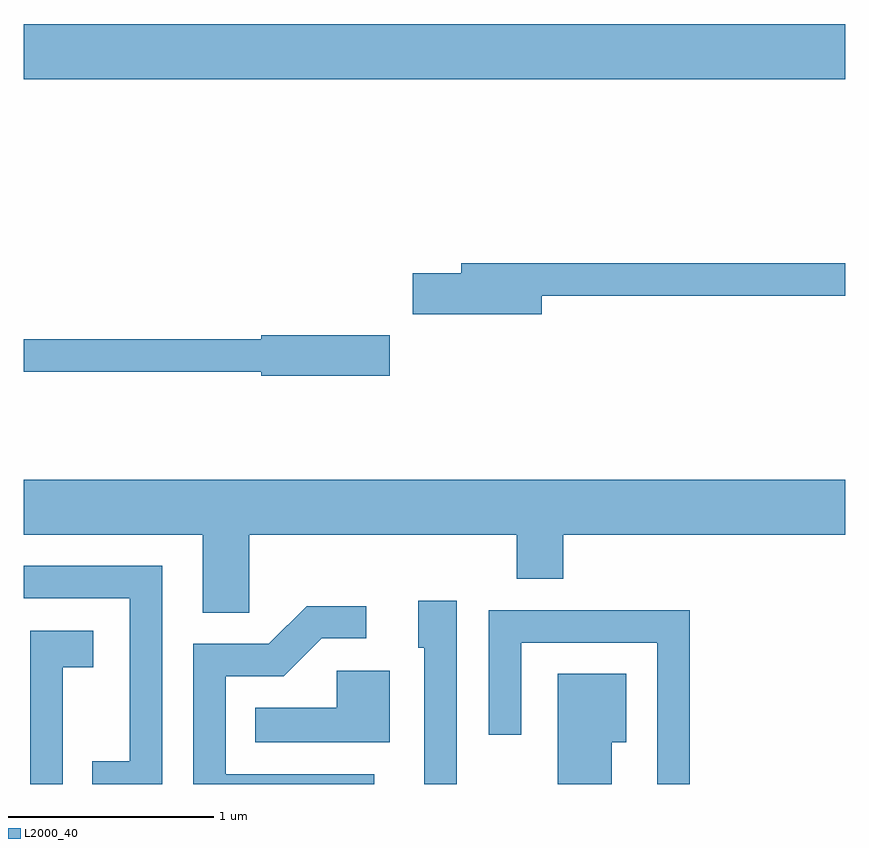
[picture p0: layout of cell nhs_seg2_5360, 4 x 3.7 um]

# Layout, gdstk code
import gdstk
lib = gdstk.Library(unit=1e-6, precision=1e-09)
def R(c, l, rs):  # rectangles x0, y0, x1, y1
    for r in rs: c.add(gdstk.rectangle(r[:2], r[2:], *l))
def P(c, l, *ps):  # polygons
    for p in ps: c.add(gdstk.Polygon(p, *l))
L2000_40 = (2000, 40)

nhs_seg2_5360 = lib.new_cell('nhs_seg2_5360')
R(nhs_seg2_5360, L2000_40, [(343.611,1017.236,347.611,1017.504)])
P(nhs_seg2_5360, L2000_40, [(346.134,1016.181),(347.611,1016.181),(347.611,1016.339),(345.741,1016.339),(345.741,1016.289),(345.506,1016.289),(345.506,1016.091),(346.134,1016.091)],
  [(345.394,1015.989),(344.766,1015.989),(344.766,1015.969),(343.611,1015.969),(343.611,1015.811),(344.766,1015.811),(344.766,1015.791),(345.394,1015.791)],
  [(344.709,1015.016),(346.011,1015.016),(346.011,1014.801),(346.239,1014.801),(346.239,1015.016),(347.611,1015.016),(347.611,1015.284),(343.611,1015.284),(343.611,1015.016),(344.481,1015.016),(344.481,1014.636),(344.709,1014.636)],
  [(344.284,1014.864),(343.611,1014.864),(343.611,1014.706),(344.126,1014.706),(344.126,1013.914),(343.943,1013.914),(343.943,1013.802),(344.284,1013.802)],
  [(345.719,1014.694),(345.531,1014.694),(345.531,1014.466),(345.561,1014.466),(345.561,1013.802),(345.719,1013.802)],
  [(345.318,1013.849),(344.594,1013.849),(344.594,1014.326),(344.877,1014.326),(345.062,1014.511),(345.278,1014.511),(345.278,1014.669),(344.989,1014.669),(344.804,1014.484),(344.436,1014.484),(344.436,1013.802),(345.318,1013.802)],
  [(346.854,1014.649),(345.876,1014.649),(345.876,1014.043),(346.034,1014.043),(346.034,1014.491),(346.696,1014.491),(346.696,1013.802),(346.854,1013.802)],
  [(343.799,1014.371),(343.949,1014.371),(343.949,1014.549),(343.641,1014.549),(343.641,1013.802),(343.799,1013.802)],
  [(345.394,1014.354),(345.136,1014.354),(345.136,1014.174),(344.738,1014.174),(344.738,1014.006),(345.394,1014.006)],
  [(346.474,1014.006),(346.544,1014.006),(346.544,1014.339),(346.211,1014.339),(346.211,1013.802),(346.474,1013.802)])

lib.write_gds('nhs_seg2_5360.gds')
